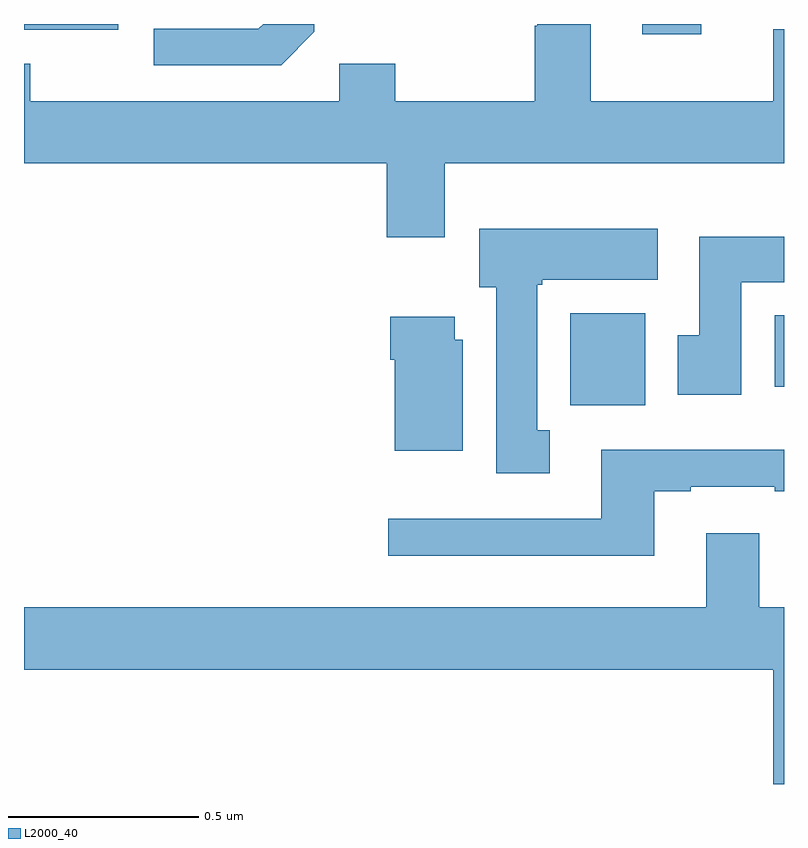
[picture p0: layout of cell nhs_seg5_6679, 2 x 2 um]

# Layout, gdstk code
import gdstk
lib = gdstk.Library(unit=1e-6, precision=1e-09)
def R(c, l, rs):  # rectangles x0, y0, x1, y1
    for r in rs: c.add(gdstk.rectangle(r[:2], r[2:], *l))
def P(c, l, *ps):  # polygons
    for p in ps: c.add(gdstk.Polygon(p, *l))
L2000_40 = (2000, 40)

nhs_seg5_6679 = lib.new_cell('nhs_seg5_6679')
R(nhs_seg5_6679, L2000_40, [(200.438,850.796,200.635,851.038), (200.975,850.844,201,851.032), (200.627,851.772,200.782,851.799), (199,851.784,199.248,851.799)])
P(nhs_seg5_6679, L2000_40, [(200.107,851.432),(201,851.432),(201,851.785),(200.972,851.785),(200.972,851.596),(200.491,851.596),(200.491,851.799),(200.351,851.799),(200.351,851.795),(200.344,851.795),(200.344,851.596),(199.977,851.596),(199.977,851.695),(199.83,851.695),(199.83,851.596),(199.017,851.596),(199.017,851.695),(199,851.695),(199,851.432),(199.955,851.432),(199.955,851.238),(200.107,851.238)],
  [(199.764,851.778),(199.764,851.799),(199.629,851.799),(199.617,851.787),(199.341,851.787),(199.341,851.691),(199.677,851.691)],
  [(200.383,850.73),(200.35,850.73),(200.35,851.113),(200.364,851.113),(200.364,851.126),(200.668,851.126),(200.668,851.26),(200.198,851.26),(200.198,851.106),(200.243,851.106),(200.243,850.617),(200.383,850.617)],
  [(200.887,851.12),(201,851.12),(201,851.239),(200.777,851.239),(200.777,850.98),(200.72,850.98),(200.72,850.824),(200.887,850.824)],
  [(200.155,850.968),(200.134,850.968),(200.134,851.029),(199.964,851.029),(199.964,850.916),(199.976,850.916),(199.976,850.676),(200.155,850.676)],
  [(200.659,850.569),(200.755,850.569),(200.755,850.581),(200.975,850.581),(200.975,850.569),(201,850.569),(201,850.678),(200.519,850.678),(200.519,850.497),(199.959,850.497),(199.959,850.4),(200.659,850.4)],
  [(201,850.264),(200.935,850.264),(200.935,850.459),(200.795,850.459),(200.795,850.264),(199,850.264),(199,850.1),(200.972,850.1),(200.972,849.799),(201,849.799)])

lib.write_gds('nhs_seg5_6679.gds')
